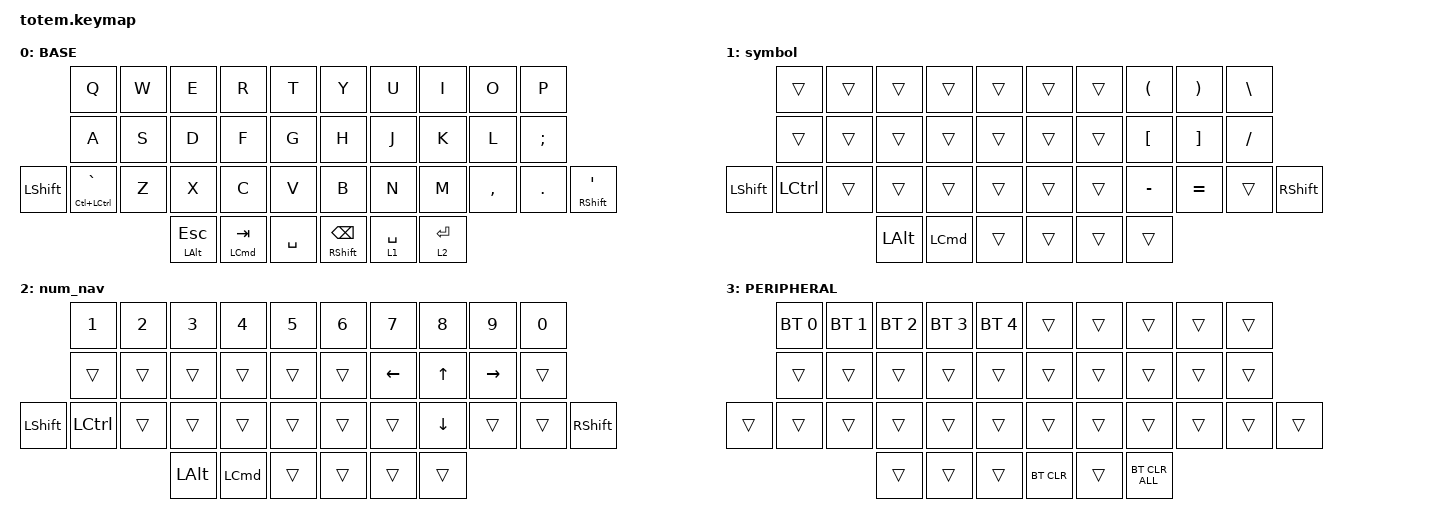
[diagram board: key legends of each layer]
//
//                                                        ▀▀▀▀▀     ▀▀▀▀▀          ▀▀█▀▀
//                                                        ▄▀▀▀▄  ▄  ▄▀▀▀▄  ▄  ▄▀▀▀▄  █  ▄▀▀▀▄
//                                                        █   █  █  █   █  █  █   █  █  █   █
//                                                         ▀▀▀   █   ▀▀▀   █   ▀▀▀   ▀   ▀▀▀
//                                                               █      ▄▄▄█▄▄▄    █   █  
//                                                               ▀      █  █  █     █▄█
//                                                             ▀▀▀▀▀    █  █  █      ▀
//                                                                      ▀  ▀  ▀
//
// ▄▄▄▄▄▄▄▄▄▄▄▄▄▄▄▄▄▄▄▄▄▄▄▄▄▄▄▄▄▄▄▄▄▄▄▄▄▄▄▄▄▄▄▄▄▄▄▄▄▄▄▄▄▄▄▄▄▄▄▄▄▄▄▄▄▄▄▄▄▄▄▄▄▄▄▄▄▄▄▄▄▄▄▄▄▄▄▄▄▄▄▄▄▄▄▄▄▄▄▄▄▄▄▄▄▄▄▄▄▄▄▄▄▄▄▄▄▄▄▄▄▄▄▄▄▄▄▄▄▄▄▄▄▄▄▄▄▄▄▄▄▄▄▄▄▄▄▄▄

#include <behaviors.dtsi>
#include <dt-bindings/zmk/bt.h>
#include <dt-bindings/zmk/keys.h>

#define BASE 0
#define NAV  1
#define SYM  2
#define ADJ  3
#define TVP1 4
#define TVP2 5

&mt {
    quick-tap-ms = <100>;
    global-quick-tap;
    flavor = "tap-preferred";
    tapping-term-ms = <170>;
};

/ {
    combos {
        compatible = "zmk,combos";

        combo_esc {
            timeout-ms = <30>;
            key-positions = <1 2>;
            bindings = <&kp ESC>;
        };

        combo_backspace {
            bindings = <&kp BACKSPACE>;
            key-positions = <8 7>;
            timeout-ms = <30>;
        };

        combo_tab {
            bindings = <&kp TAB>;
            key-positions = <1 0>;
            timeout-ms = <30>;
        };

        combo_enter {
            bindings = <&kp ENTER>;
            key-positions = <8 9>;
            timeout-ms = <30>;
        };

        TOGGLE_BT_LAYER {
            bindings = <&tog 3>;
            key-positions = <35 34>;
        };
    };

    behaviors {
        mod_layer: mod_layer {
            compatible = "zmk,behavior-hold-tap";
            label = "MOD_LAYER";
            bindings = <&mt>, <&to>;

            #binding-cells = <2>;
            tapping-term-ms = <170>;
            quick-tap-ms = <100>;
        };
    };

    keymap {
        compatible = "zmk,keymap";

        // ▄▄▄▄▄▄▄▄▄▄▄▄▄▄▄▄▄▄▄▄▄▄▄▄▄▄▄▄▄▄▄▄▄▄▄▄▄▄▄▄▄▄▄▄▄▄▄▄▄▄▄▄▄▄▄▄▄▄▄▄▄▄▄▄▄▄▄▄▄▄▄▄▄▄▄▄▄▄▄▄▄▄▄▄▄▄▄▄▄▄▄▄▄▄▄▄▄▄▄▄▄▄▄▄▄▄▄▄▄▄▄▄▄▄▄▄▄▄▄▄▄▄▄▄▄▄▄▄▄▄▄▄▄▄▄▄▄▄▄▄▄▄▄▄▄▄▄▄▄

        base {
            // ┏━━━━━━━━━━━━━━━━━━━━━━━━━━━━━━━━━━━━━━━┓

            label = "BASE";

            // ┗━━━━━━━━━━━━━━━━━━━━━━━━━━━━━━━━━━━━━━━┛
            //             ┏━━━━━━━━━━━┳━━━━━━━━━━━┳━━━━━━━━━━━┳━━━━━━━━━━━┳━━━━━━━━━━━┓   ┏━━━━━━━━━━━┳━━━━━━━━━━━┳━━━━━━━━━━━┳━━━━━━━━━━━┳━━━━━━━━━━━┓
            //             ┃     Q     ┃     W     ┃     F     ┃     P     ┃     G     ┃   ┃     J     ┃     L     ┃     U     ┃     Y     ┃     ;     ┃
            //             ┣━━━━━━━━━━━╋━━━━━━━━━━━╋━━━━━━━━━━━╋━━━━━━━━━━━╋━━━━━━━━━━━┫   ┣━━━━━━━━━━━╋━━━━━━━━━━━╋━━━━━━━━━━━╋━━━━━━━━━━━╋━━━━━━━━━━━┫
            //             ┃     A     ┃     R     ┃     S     ┃     T     ┃     D     ┃   ┃     H     ┃     N     ┃     E     ┃     I     ┃     O     ┃
            // ┏━━━━━━━━━━━╋━━━━━━━━━━━╋━━━━━━━━━━━╋━━━━━━━━━━━╋━━━━━━━━━━━╋━━━━━━━━━━━┫   ┣━━━━━━━━━━━╋━━━━━━━━━━━╋━━━━━━━━━━━╋━━━━━━━━━━━╋━━━━━━━━━━━╋━━━━━━━━━━━┓
            // ┃     Q     ┃     Z     ┃     X     ┃     C     ┃     V     ┃     B     ┃   ┃     K     ┃     M     ┃     ,     ┃     .     ┃     /     ┃     \     ┃
            // ┗━━━━━━━━━━━┻━━━━━━━━━━━┻━━━━━━━━━━━╋━━━━━━━━━━━╋━━━━━━━━━━━╋━━━━━━━━━━━┫   ┣━━━━━━━━━━━╋━━━━━━━━━━━╋━━━━━━━━━━━╋━━━━━━━━━━━┻━━━━━━━━━━━┻━━━━━━━━━━━┛
            //                                     ┃    DEL    ┃    TAB    ┃    SPC    ┃   ┃   ENTER   ┃           ┃   BSPC    ┃
            //                                     ┗━━━━━━━━━━━┻━━━━━━━━━━━┻━━━━━━━━━━━┛   ┗━━━━━━━━━━━┻━━━━━━━━━━━┻━━━━━━━━━━━┛

            bindings = <
           &kp Q                &kp W  &kp E            &kp R         &kp T        &kp Y                 &kp U        &kp I        &kp O      &kp P
           &kp A                &kp S  &kp D            &kp F         &kp G        &kp H                 &kp J        &kp K        &kp L      &kp SEMICOLON
&kp LSHFT  &mt LC(LCTRL) GRAVE  &kp Z  &kp X            &kp C         &kp V        &kp B                 &kp N        &kp M        &kp COMMA  &kp PERIOD     &mt RIGHT_SHIFT SQT
                                       &mt LALT ESCAPE  &mt LCMD TAB  &kp SPACE    &mt RSHIFT BACKSPACE  &lt 1 SPACE  &lt 2 ENTER
            >;
        };

        // ▄▄▄▄▄▄▄▄▄▄▄▄▄▄▄▄▄▄▄▄▄▄▄▄▄▄▄▄▄▄▄▄▄▄▄▄▄▄▄▄▄▄▄▄▄▄▄▄▄▄▄▄▄▄▄▄▄▄▄▄▄▄▄▄▄▄▄▄▄▄▄▄▄▄▄▄▄▄▄▄▄▄▄▄▄▄▄▄▄▄▄▄▄▄▄▄▄▄▄▄▄▄▄▄▄▄▄▄▄▄▄▄▄▄▄▄▄▄▄▄▄▄▄▄▄▄▄▄▄▄▄▄▄▄▄▄▄▄▄▄▄▄▄▄▄▄▄▄▄
        // ▄▄▄▄▄▄▄▄▄▄▄▄▄▄▄▄▄▄▄▄▄▄▄▄▄▄▄▄▄▄▄▄▄▄▄▄▄▄▄▄▄▄▄▄▄▄▄▄▄▄▄▄▄▄▄▄▄▄▄▄▄▄▄▄▄▄▄▄▄▄▄▄▄▄▄▄▄▄▄▄▄▄▄▄▄▄▄▄▄▄▄▄▄▄▄▄▄▄▄▄▄▄▄▄▄▄▄▄▄▄▄▄▄▄▄▄▄▄▄▄▄▄▄▄▄▄▄▄▄▄▄▄▄▄▄▄▄▄▄▄▄▄▄▄▄▄▄▄▄
        // ▄▄▄▄▄▄▄▄▄▄▄▄▄▄▄▄▄▄▄▄▄▄▄▄▄▄▄▄▄▄▄▄▄▄▄▄▄▄▄▄▄▄▄▄▄▄▄▄▄▄▄▄▄▄▄▄▄▄▄▄▄▄▄▄▄▄▄▄▄▄▄▄▄▄▄▄▄▄▄▄▄▄▄▄▄▄▄▄▄▄▄▄▄▄▄▄▄▄▄▄▄▄▄▄▄▄▄▄▄▄▄▄▄▄▄▄▄▄▄▄▄▄▄▄▄▄▄▄▄▄▄▄▄▄▄▄▄▄▄▄▄▄▄▄▄▄▄▄▄
        // ▄▄▄▄▄▄▄▄▄▄▄▄▄▄▄▄▄▄▄▄▄▄▄▄▄▄▄▄▄▄▄▄▄▄▄▄▄▄▄▄▄▄▄▄▄▄▄▄▄▄▄▄▄▄▄▄▄▄▄▄▄▄▄▄▄▄▄▄▄▄▄▄▄▄▄▄▄▄▄▄▄▄▄▄▄▄▄▄▄▄▄▄▄▄▄▄▄▄▄▄▄▄▄▄▄▄▄▄▄▄▄▄▄▄▄▄▄▄▄▄▄▄▄▄▄▄▄▄▄▄▄▄▄▄▄▄▄▄▄▄▄▄▄▄▄▄▄▄▄
        // ▄▄▄▄▄▄▄▄▄▄▄▄▄▄▄▄▄▄▄▄▄▄▄▄▄▄▄▄▄▄▄▄▄▄▄▄▄▄▄▄▄▄▄▄▄▄▄▄▄▄▄▄▄▄▄▄▄▄▄▄▄▄▄▄▄▄▄▄▄▄▄▄▄▄▄▄▄▄▄▄▄▄▄▄▄▄▄▄▄▄▄▄▄▄▄▄▄▄▄▄▄▄▄▄▄▄▄▄▄▄▄▄▄▄▄▄▄▄▄▄▄▄▄▄▄▄▄▄▄▄▄▄▄▄▄▄▄▄▄▄▄▄▄▄▄▄▄▄▄

        symbol {
            bindings = <
            &trans     &trans  &trans    &trans            &trans    &trans  &trans  &kp LEFT_PARENTHESIS  &kp RIGHT_PARENTHESIS  &kp BACKSLASH
            &trans     &trans  &trans    &trans            &trans    &trans  &trans  &kp LEFT_BRACKET      &kp RIGHT_BRACKET      &kp SLASH
&kp LSHIFT  &kp LCTRL  &trans  &trans    &trans            &trans    &trans  &trans  &kp MINUS             &kp EQUAL              &trans         &kp RIGHT_SHIFT
                               &kp LALT  &kp LEFT_COMMAND  &trans    &trans  &trans  &trans
            >;
        };

        num_nav {
            bindings = <
           &kp NUMBER_1  &kp NUMBER_2  &kp NUMBER_3  &kp NUMBER_4  &kp N5    &kp NUMBER_6  &kp NUMBER_7  &kp NUMBER_8  &kp NUMBER_9  &kp NUMBER_0
           &trans        &trans        &trans        &trans        &trans    &trans        &kp LEFT      &kp UP_ARROW  &kp RIGHT     &trans
&kp LSHFT  &kp LCTRL     &trans        &trans        &trans        &trans    &trans        &trans        &kp DOWN      &trans        &trans        &kp RSHIFT
                                       &kp LALT      &kp LCMD      &trans    &trans        &trans        &trans
            >;
        };

        PERIPHERAL {
            bindings = <
        &bt BT_SEL 0  &bt BT_SEL 1  &bt BT_SEL 2  &bt BT_SEL 3  &bt BT_SEL 4    &trans      &trans  &trans          &trans  &trans
        &trans        &trans        &trans        &trans        &trans          &trans      &trans  &trans          &trans  &trans
&trans  &trans        &trans        &trans        &trans        &trans          &trans      &trans  &trans          &trans  &trans  &trans
                                    &trans        &trans        &trans          &bt BT_CLR  &trans  &bt BT_CLR_ALL
            >;
        };
    };
};
